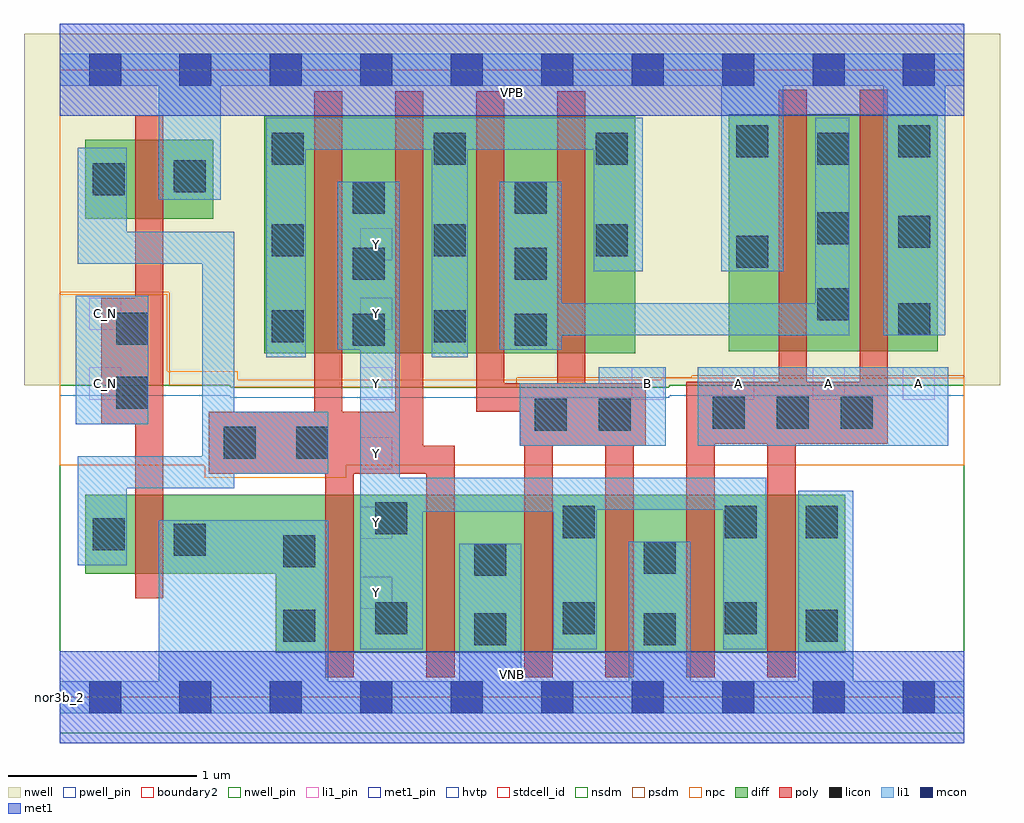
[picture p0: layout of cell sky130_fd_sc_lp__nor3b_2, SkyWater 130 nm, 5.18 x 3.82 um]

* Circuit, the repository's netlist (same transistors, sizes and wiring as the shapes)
* Copyright 2020 The SkyWater PDK Authors
*
* Licensed under the Apache License, Version 2.0 (the "License");
* you may not use this file except in compliance with the License.
* You may obtain a copy of the License at
*
*     https://www.apache.org/licenses/LICENSE-2.0
*
* Unless required by applicable law or agreed to in writing, software
* distributed under the License is distributed on an "AS IS" BASIS,
* WITHOUT WARRANTIES OR CONDITIONS OF ANY KIND, either express or implied.
* See the License for the specific language governing permissions and
* limitations under the License.
*
* SPDX-License-Identifier: Apache-2.0

.SUBCKT sky130_fd_sc_lp__nor3b_2 A B C_N VGND VNB VPB VPWR Y
*.PININFO A:I B:I C_N:I VGND:I VNB:I VPB:I VPWR:I Y:O
MMP0 VPWR A sndPA VPB sky130_fd_pr__pfet_01v8_hvt m=2 w=1.26U l=0.15U mult=1 sa=0.265
+ sb=0.265 sd=0.28 area=0.063 perim=1.14
MMP1 sndPA B sndPB VPB sky130_fd_pr__pfet_01v8_hvt m=2 w=1.26U l=0.15U mult=1 sa=0.265
+ sb=0.265 sd=0.28 area=0.063 perim=1.14
MMP2 sndPB C Y VPB sky130_fd_pr__pfet_01v8_hvt m=2 w=1.26U l=0.15U mult=1 sa=0.265
+ sb=0.265 sd=0.28 area=0.063 perim=1.14
MMIP2 C C_N VPWR VPB sky130_fd_pr__pfet_01v8_hvt m=1 w=0.42U l=0.15U mult=1 sa=0.265
+ sb=0.265 sd=0.28 area=0.063 perim=1.14
MMN0 Y A VGND VNB sky130_fd_pr__nfet_01v8 m=2 w=0.84U l=0.15U mult=1 sa=0.265 sb=0.265
+ sd=0.28 area=0.063 perim=1.14
MMN1 Y B VGND VNB sky130_fd_pr__nfet_01v8 m=2 w=0.84U l=0.15U mult=1 sa=0.265 sb=0.265
+ sd=0.28 area=0.063 perim=1.14
MMN2 Y C VGND VNB sky130_fd_pr__nfet_01v8 m=2 w=0.84U l=0.15U mult=1 sa=0.265 sb=0.265
+ sd=0.28 area=0.063 perim=1.14
MMIN2 C C_N VGND VNB sky130_fd_pr__nfet_01v8 m=1 w=0.42U l=0.15U mult=1 sa=0.265
+ sb=0.265 sd=0.28 area=0.063 perim=1.14
.ENDS sky130_fd_sc_lp__nor3b_2

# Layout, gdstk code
import gdstk
lib = gdstk.Library(unit=1e-6, precision=1e-09)
def R(c, l, rs):  # rectangles x0, y0, x1, y1
    for r in rs: c.add(gdstk.rectangle(r[:2], r[2:], *l))
def A(c, l, x, y, w, h, nx, ny, dx, dy):  # array of equal rectangles
    R(c, l, [(x+i*dx, y+j*dy, x+i*dx+w, y+j*dy+h) for i in range(nx) for j in range(ny)])
def P(c, l, *ps):  # polygons
    for p in ps: c.add(gdstk.Polygon(p, *l))
nwell_pin = (64, 16)
nwell = (64, 20)
diff = (65, 20)
poly = (66, 20)
licon = (66, 44)
li1_pin = (67, 16)
li1 = (67, 20)
mcon = (67, 44)
met1_pin = (68, 16)
met1 = (68, 20)
hvtp = (78, 44)
stdcell_id = (81, 4)
nsdm = (93, 44)
psdm = (94, 20)
npc = (95, 20)
pwell_pin = (122, 16)
boundary2 = (236, 0)

sky130_fd_sc_lp__nor3b_2 = lib.new_cell('sky130_fd_sc_lp__nor3b_2')
R(sky130_fd_sc_lp__nor3b_2, nwell_pin, [(0,3.085,4.8,3.33)])
P(sky130_fd_sc_lp__nor3b_2, nwell, [(4.99,3.52),(-0.19,3.52),(-0.19,1.655),(0.905,1.655),(0.905,1.645),(3.235,1.645),(3.235,1.655),(4.99,1.655)])
R(sky130_fd_sc_lp__nor3b_2, diff, [(1.085,1.825,3.055,3.085), (3.55,1.835,4.66,3.095), (0.135,2.54,0.815,2.96)])
P(sky130_fd_sc_lp__nor3b_2, diff, [(4.17,1.075),(0.135,1.075),(0.135,0.655),(1.145,0.655),(1.145,0.235),(4.17,0.235)])
P(sky130_fd_sc_lp__nor3b_2, poly, [(0.55,3.09),(0.4,3.09),(0.4,2.12),(0.22,2.12),(0.22,1.45),(0.4,1.45),(0.4,0.525),(0.55,0.525)],
  [(2.095,1.335),(1.93,1.335),(1.93,3.215),(1.78,3.215),(1.78,1.515),(1.5,1.515),(1.5,3.215),(1.35,3.215),(1.35,1.515),(0.79,1.515),(0.79,1.185),(1.41,1.185),(1.41,0.105),(1.56,0.105),(1.56,1.185),(1.945,1.185),(1.945,0.105),(2.095,0.105)],
  [(3.11,1.665),(2.79,1.665),(2.79,3.215),(2.64,3.215),(2.64,1.665),(2.36,1.665),(2.36,3.215),(2.21,3.215),(2.21,1.515),(2.44,1.515),(2.44,1.335),(2.465,1.335),(2.465,0.105),(2.615,0.105),(2.615,1.335),(2.895,1.335),(2.895,0.105),(3.045,0.105),(3.045,1.335),(3.11,1.335)],
  [(4.395,3.225),(4.245,3.225),(4.245,1.675),(3.965,1.675),(3.965,3.225),(3.815,3.225),(3.815,1.675),(3.325,1.675),(3.325,0.105),(3.475,0.105),(3.475,1.345),(3.755,1.345),(3.755,0.105),(3.905,0.105),(3.905,1.345),(4.395,1.345)])
A(sky130_fd_sc_lp__nor3b_2, licon, 3.465, 1.425, 0.17, 0.17, 3, 1, 0.34, 0)
A(sky130_fd_sc_lp__nor3b_2, licon, 1.555, 1.865, 0.17, 0.17, 1, 3, 0, 0.35)
A(sky130_fd_sc_lp__nor3b_2, licon, 2.415, 1.865, 0.17, 0.17, 1, 3, 0, 0.35)
A(sky130_fd_sc_lp__nor3b_2, licon, 1.125, 2.34, 0.17, 0.17, 3, 2, 0.86, 0.485)
R(sky130_fd_sc_lp__nor3b_2, licon, [(2.2,0.275,2.37,0.445), (3.1,0.275,3.27,0.445), (1.185,0.295,1.355,0.465), (3.96,0.295,4.13,0.465), (1.675,0.335,1.845,0.505), (2.67,0.335,2.84,0.505), (3.53,0.335,3.7,0.505), (2.2,0.645,2.37,0.815), (3.1,0.655,3.27,0.825), (1.185,0.69,1.355,0.86), (0.605,0.75,0.775,0.92), (0.175,0.78,0.345,0.95), (2.67,0.845,2.84,1.015), (3.53,0.845,3.7,1.015), (3.96,0.845,4.13,1.015), (1.675,0.865,1.845,1.035), (0.87,1.265,1.04,1.435), (1.255,1.265,1.425,1.435), (2.52,1.415,2.69,1.585), (2.86,1.415,3.03,1.585), (0.3,1.53,0.47,1.7), (0.3,1.87,0.47,2.04), (1.125,1.885,1.295,2.055), (1.985,1.885,2.155,2.055), (4.45,1.92,4.62,2.09), (4.02,2,4.19,2.17), (3.59,2.28,3.76,2.45), (4.45,2.385,4.62,2.555), (4.02,2.405,4.19,2.575), (0.175,2.665,0.345,2.835), (0.605,2.68,0.775,2.85), (4.02,2.825,4.19,2.995), (3.59,2.865,3.76,3.035), (4.45,2.865,4.62,3.035)])
A(sky130_fd_sc_lp__nor3b_2, li1_pin, 1.595, 0.47, 0.17, 0.17, 1, 3, 0, 0.37)
A(sky130_fd_sc_lp__nor3b_2, li1_pin, 0.155, 1.58, 0.17, 0.17, 3, 1, 1.44, 0)
A(sky130_fd_sc_lp__nor3b_2, li1_pin, 3.515, 1.58, 0.17, 0.17, 3, 1, 0.48, 0)
R(sky130_fd_sc_lp__nor3b_2, li1_pin, [(0.155,1.95,0.325,2.12), (1.595,1.95,1.765,2.12), (1.595,2.32,1.765,2.49)])
R(sky130_fd_sc_lp__nor3b_2, li1, [(3.385,1.335,4.715,1.75), (0.085,1.45,0.47,2.13)])
P(sky130_fd_sc_lp__nor3b_2, li1, [(0.525,2.64),(0.525,3.245),(0,3.245),(0,3.415),(4.8,3.415),(4.8,3.245),(4.7,3.245),(4.7,1.92),(4.37,1.92),(4.37,3.245),(3.84,3.245),(3.84,2.26),(3.51,2.26),(3.51,3.245),(0.855,3.245),(0.855,2.64)],
  [(2.12,0.085),(2.12,0.815),(2.45,0.815),(2.45,0.085),(3.02,0.085),(3.02,0.825),(3.35,0.825),(3.35,0.085),(3.92,0.085),(3.92,1.095),(4.21,1.095),(4.21,0.085),(4.8,0.085),(4.8,-0.085),(0,-0.085),(0,0.085),(0.525,0.085),(0.525,0.94),(1.425,0.94),(1.425,0.085)],
  [(1.475,1.845),(1.475,2.735),(1.805,2.735),(1.805,1.165),(3.75,1.165),(3.75,0.255),(3.52,0.255),(3.52,0.995),(2.85,0.995),(2.85,0.255),(2.62,0.255),(2.62,0.985),(1.925,0.985),(1.925,0.255),(1.595,0.255),(1.595,1.845)],
  [(3.215,1.75),(2.86,1.75),(2.86,1.665),(2.44,1.665),(2.44,1.335),(3.215,1.335)],
  [(2.665,2.09),(4.01,2.09),(4.01,3.075),(4.19,3.075),(4.19,1.92),(2.665,1.92),(2.665,1.845),(2.335,1.845),(2.335,2.735),(2.665,2.735)],
  [(2.835,2.905),(2.165,2.905),(2.165,1.805),(1.975,1.805),(1.975,2.905),(1.305,2.905),(1.305,1.805),(1.095,1.805),(1.095,3.075),(3.095,3.075),(3.095,2.26),(2.835,2.26)],
  [(0.355,2.47),(0.925,2.47),(0.925,1.515),(1.425,1.515),(1.425,1.185),(0.925,1.185),(0.925,1.11),(0.355,1.11),(0.355,0.7),(0.095,0.7),(0.095,1.28),(0.755,1.28),(0.755,2.3),(0.095,2.3),(0.095,2.915),(0.355,2.915)])
A(sky130_fd_sc_lp__nor3b_2, mcon, 0.155, -0.085, 0.17, 0.17, 10, 2, 0.48, 3.33)
R(sky130_fd_sc_lp__nor3b_2, met1_pin, [(0,0,4.8,0.245), (0,3.085,4.8,3.33)])
R(sky130_fd_sc_lp__nor3b_2, met1, [(0,-0.245,4.8,0.245), (0,3.085,4.8,3.575)])
P(sky130_fd_sc_lp__nor3b_2, hvtp, [(4.8,3.33),(0,3.33),(0,1.6),(0.905,1.6),(0.905,1.59),(3.235,1.59),(3.235,1.6),(4.8,1.6)])
R(sky130_fd_sc_lp__nor3b_2, stdcell_id, [(0,0,4.8,3.33)])
P(sky130_fd_sc_lp__nor3b_2, nsdm, [(4.8,1.655),(3.235,1.655),(3.235,1.645),(0.905,1.645),(0.905,1.655),(0,1.655),(0,-0.19),(4.8,-0.19)])
P(sky130_fd_sc_lp__nor3b_2, psdm, [(4.8,3.52),(0,3.52),(0,2.15),(0.58,2.15),(0.58,1.655),(0.905,1.655),(0.905,1.645),(2.425,1.645),(2.425,1.695),(3.355,1.695),(3.355,1.705),(4.8,1.705)])
P(sky130_fd_sc_lp__nor3b_2, npc, [(4.8,1.695),(3.195,1.695),(3.195,1.685),(0.945,1.685),(0.945,1.73),(0.57,1.73),(0.57,2.14),(0,2.14),(0,1.23),(0.77,1.23),(0.77,1.165),(1.52,1.165),(1.52,1.23),(4.8,1.23)])
R(sky130_fd_sc_lp__nor3b_2, pwell_pin, [(0,0,4.8,0.245)])
R(sky130_fd_sc_lp__nor3b_2, boundary2, [(0,0,4.8,3.33)])
sky130_fd_sc_lp__nor3b_2.add(gdstk.Label('VNB', (2.4,0.123), layer=64, texttype=59))
sky130_fd_sc_lp__nor3b_2.add(gdstk.Label('VPB', (2.4,3.208), layer=64, texttype=5))
sky130_fd_sc_lp__nor3b_2.add(gdstk.Label('nor3b_2', (0,0), layer=83, texttype=44))
sky130_fd_sc_lp__nor3b_2.add(gdstk.Label('VPWR', (2.4,3.208), layer=68, texttype=5))
sky130_fd_sc_lp__nor3b_2.add(gdstk.Label('VGND', (2.4,0.123), layer=68, texttype=5))
sky130_fd_sc_lp__nor3b_2.add(gdstk.Label('A', (3.6,1.665), layer=67, texttype=5))
sky130_fd_sc_lp__nor3b_2.add(gdstk.Label('A', (4.08,1.665), layer=67, texttype=5))
sky130_fd_sc_lp__nor3b_2.add(gdstk.Label('A', (4.56,1.665), layer=67, texttype=5))
sky130_fd_sc_lp__nor3b_2.add(gdstk.Label('Y', (1.68,0.555), layer=67, texttype=5))
sky130_fd_sc_lp__nor3b_2.add(gdstk.Label('Y', (1.68,0.925), layer=67, texttype=5))
sky130_fd_sc_lp__nor3b_2.add(gdstk.Label('Y', (1.68,1.295), layer=67, texttype=5))
sky130_fd_sc_lp__nor3b_2.add(gdstk.Label('Y', (1.68,1.665), layer=67, texttype=5))
sky130_fd_sc_lp__nor3b_2.add(gdstk.Label('Y', (1.68,2.035), layer=67, texttype=5))
sky130_fd_sc_lp__nor3b_2.add(gdstk.Label('Y', (1.68,2.405), layer=67, texttype=5))
sky130_fd_sc_lp__nor3b_2.add(gdstk.Label('B', (3.12,1.665), layer=67, texttype=5))
sky130_fd_sc_lp__nor3b_2.add(gdstk.Label('C_N', (0.24,1.665), layer=67, texttype=5))
sky130_fd_sc_lp__nor3b_2.add(gdstk.Label('C_N', (0.24,2.035), layer=67, texttype=5))

lib.write_gds('sky130_fd_sc_lp__nor3b_2.gds')
